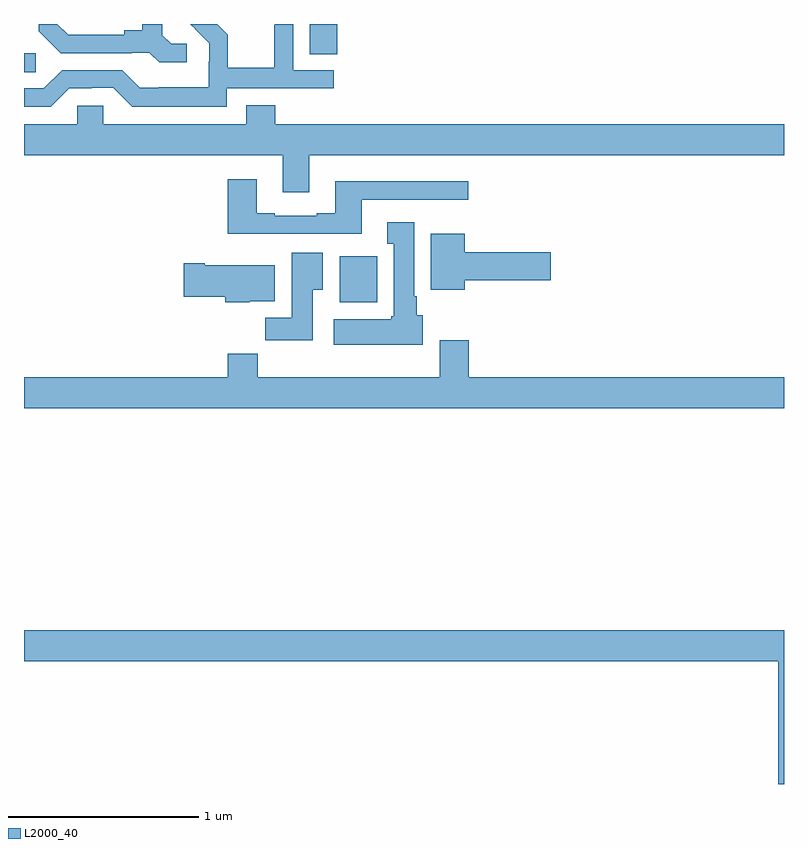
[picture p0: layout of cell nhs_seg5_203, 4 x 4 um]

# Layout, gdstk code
import gdstk
lib = gdstk.Library(unit=1e-6, precision=1e-09)
def R(c, l, rs):  # rectangles x0, y0, x1, y1
    for r in rs: c.add(gdstk.rectangle(r[:2], r[2:], *l))
def P(c, l, *ps):  # polygons
    for p in ps: c.add(gdstk.Polygon(p, *l))
L2000_40 = (2000, 40)

nhs_seg5_203 = lib.new_cell('nhs_seg5_203')
R(nhs_seg5_203, L2000_40, [(124.661,841.334,124.858,841.576), (123,842.545,123.061,842.646), (124.505,842.641,124.649,842.799)])
P(nhs_seg5_203, L2000_40, [(124.068,842.46),(124.63,842.46),(124.63,842.556),(124.416,842.556),(124.416,842.799),(124.32,842.799),(124.32,842.792),(124.318,842.792),(124.318,842.569),(124.073,842.569),(124.073,842.743),(124.017,842.799),(123.875,842.799),(123.901,842.773),(123.9,842.772),(123.974,842.698),(123.974,842.601),(123.972,842.601),(123.972,842.467),(123.709,842.467),(123.709,842.463),(123.609,842.463),(123.516,842.556),(123.201,842.556),(123.105,842.46),(123,842.46),(123,842.364),(123.141,842.364),(123.237,842.46),(123.356,842.46),(123.356,842.463),(123.471,842.463),(123.571,842.363),(124.068,842.363)],
  [(123.856,842.694),(123.774,842.694),(123.727,842.741),(123.727,842.799),(123.623,842.799),(123.623,842.765),(123.527,842.765),(123.527,842.742),(123.232,842.742),(123.175,842.799),(123.078,842.799),(123.078,842.762),(123.194,842.646),(123.566,842.646),(123.566,842.649),(123.66,842.649),(123.712,842.597),(123.856,842.597)],
  [(124.501,842.108),(127,842.108),(127,842.272),(124.322,842.272),(124.322,842.371),(124.169,842.371),(124.169,842.272),(123.417,842.272),(123.417,842.37),(123.279,842.37),(123.279,842.272),(123,842.272),(123,842.108),(124.361,842.108),(124.361,841.914),(124.501,841.914)],
  [(124.313,841.695),(124.777,841.695),(124.777,841.875),(125.338,841.875),(125.338,841.972),(124.637,841.972),(124.637,841.804),(124.541,841.804),(124.541,841.791),(124.321,841.791),(124.321,841.804),(124.225,841.804),(124.225,841.981),(124.073,841.981),(124.073,841.694),(124.313,841.694)],
  [(125.098,841.266),(125.068,841.266),(125.068,841.366),(125.053,841.366),(125.053,841.756),(124.913,841.756),(124.913,841.643),(124.946,841.643),(124.946,841.26),(124.933,841.26),(124.933,841.246),(124.629,841.246),(124.629,841.112),(125.098,841.112)],
  [(125.32,841.451),(125.773,841.451),(125.773,841.598),(125.32,841.598),(125.32,841.696),(125.141,841.696),(125.141,841.4),(125.32,841.4)],
  [(124.519,841.4),(124.573,841.4),(124.573,841.594),(124.409,841.594),(124.409,841.252),(124.27,841.252),(124.27,841.134),(124.519,841.134)],
  [(124.188,841.34),(124.321,841.34),(124.321,841.528),(123.952,841.528),(123.952,841.541),(123.84,841.541),(123.84,841.363),(124.058,841.363),(124.058,841.334),(124.188,841.334)],
  [(127,840.94),(125.342,840.94),(125.342,841.135),(125.189,841.135),(125.189,840.94),(124.229,840.94),(124.229,841.064),(124.073,841.064),(124.073,840.94),(123,840.94),(123,840.776),(127,840.776)],
  [(127,839.608),(123,839.608),(123,839.444),(126.971,839.444),(126.971,838.799),(127,838.799)])

lib.write_gds('nhs_seg5_203.gds')
